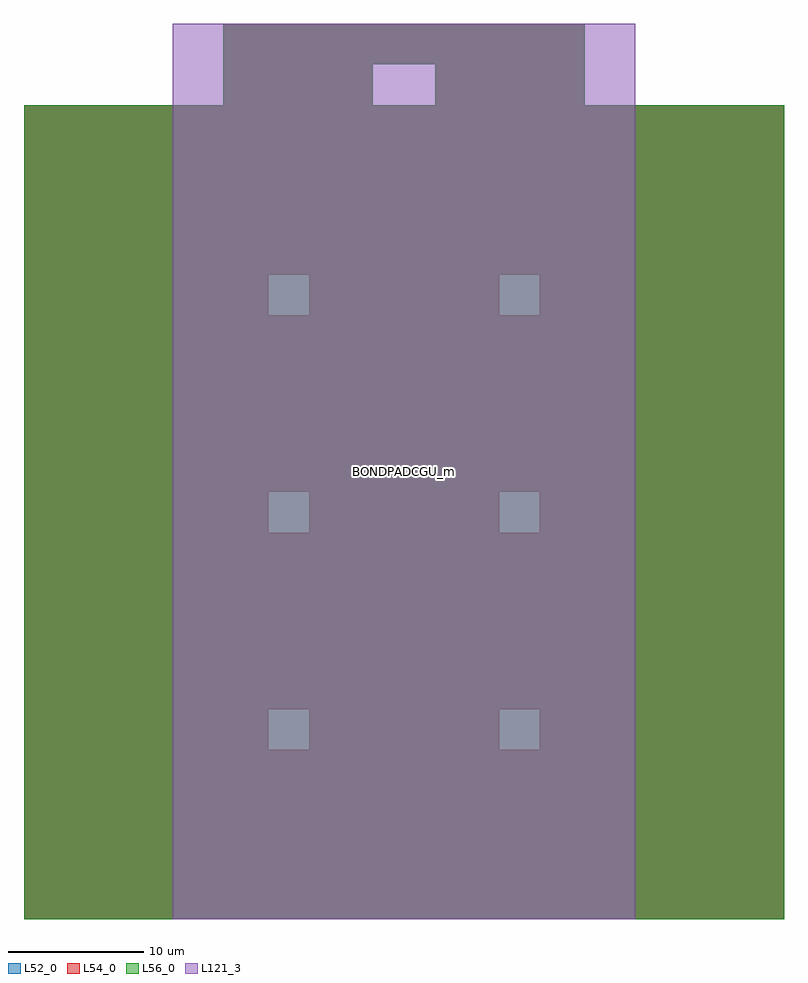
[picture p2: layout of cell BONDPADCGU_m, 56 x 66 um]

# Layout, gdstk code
import gdstk
lib = gdstk.Library(unit=1e-6, precision=1e-09)
def R(c, l, rs):  # rectangles x0, y0, x1, y1
    for r in rs: c.add(gdstk.rectangle(r[:2], r[2:], *l))
L52_0 = (52, 0)
L54_0 = (54, 0)
L56_0 = (56, 0)
L121_3 = (121, 3)

bondpadcgu_m = lib.new_cell('BONDPADCGU_m')
R(bondpadcgu_m, L52_0, [(-10.95,0,45.05,12.5), (-10.95,0,7.05,60), (10.05,0,24.05,60), (27.05,0,45.05,60), (-10.95,15.5,45.05,28.5), (-10.95,31.5,45.05,44.5), (3.74,47.5,14.74,66), (19.36,47.5,30.36,66), (3.74,63,30.36,66)])
R(bondpadcgu_m, L54_0, [(-10.95,0,45.05,12.5), (-10.95,0,7.05,60), (10.05,0,24.05,60), (27.05,0,45.05,60), (-10.95,15.5,45.05,28.5), (-10.95,31.5,45.05,44.5), (3.74,47.5,14.74,66), (19.36,47.5,30.36,66), (3.74,63,30.36,66)])
R(bondpadcgu_m, L56_0, [(-10.95,0,45.05,60), (3.74,0,14.74,66), (19.36,0,30.36,66), (3.74,63,30.36,66)])
R(bondpadcgu_m, L121_3, [(0,0,34.1,66)])
bondpadcgu_m.add(gdstk.Label('BONDPADCGU_m', (17.05,33), layer=121, texttype=3))

lib.write_gds('BONDPADCGU_m.gds')
